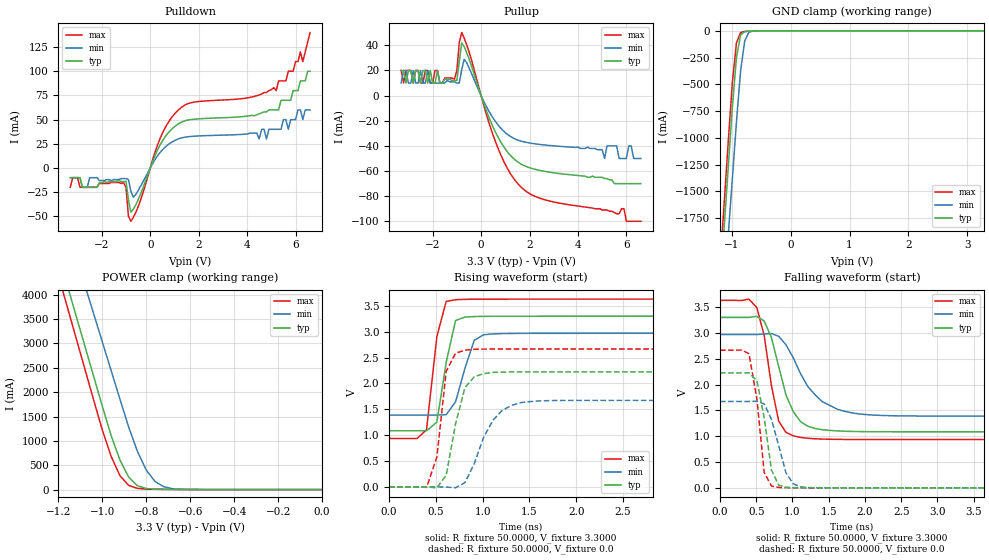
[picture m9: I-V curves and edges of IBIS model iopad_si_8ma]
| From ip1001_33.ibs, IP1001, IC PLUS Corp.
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|   Model iopad_si_8ma
[Model]  iopad_si_8ma
Model_type I/O
Polarity   Non-Inverting
Enable   Active-Low
Vinl =   0.8000V
Vinh =   1.8000V
Vmeas =  1.2500V
C_comp   0.3000pF   0.2400pF   0.3600pF
[Temperature Range]   27.0000   100.0000   0.0
[Voltage Range]   3.3000V   2.9700V   3.6300V
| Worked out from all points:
|   slope of the pulldown table from 0 to 0.495 V, typ, clamps not added: 17.9 ohm
|   slope of the pullup table from 0 to 0.495 V, typ, clamps not added: 19.8 ohm
|   GND clamp passes 1 mA (typ) near -0.63 V on its own axis
|   POWER clamp passes 1 mA (typ) near -0.57 V on its own axis
|   rising waveform, R_fixture 50.0000, V_fixture 3.3000: 20-80 % time 132ps typ, 157ps min, 115ps max; typ from 1.08 V to 3.3 V
|   rising waveform, R_fixture 50.0000, V_fixture 0.0: 20-80 % time 158ps typ, 257ps min, 102ps max; typ from 0 V to 2.22 V
|   falling waveform, R_fixture 50.0000, V_fixture 3.3000: 20-80 % time 275ps typ, 428ps min, 200ps max; typ from 3.3 V to 1.08 V
|   falling waveform, R_fixture 50.0000, V_fixture 0.0: 20-80 % time 149ps typ, 195ps min, 135ps max; typ from 2.22 V to 0 V
[Pulldown]
|Voltage   I(typ)   I(min)   I(max)
-3.3V     -10mA      -10mA      -20mA
-1.1V     -14mA      -11mA      -15mA
-1V       -13.8mA    -11mA      -20.3mA
-900mV    -32.9mA    -12mA      -49.86mA
-800mV    -45.69mA   -24.1mA    -55.12mA
400mV     23.52mA    15.83mA    30.06mA
1.1V      44.55mA    29.42mA    58.46mA
5.2V      60mA       40mA       80mA
5.7V      70mA       40mA       100mA
6.2V      90mA       60mA       120mA
6.3V      90mA       50mA       110mA
6.6V      100mA      60mA       140mA
[Pullup]
|Voltage   I(typ)   I(min)   I(max)
-3.3V     20mA       10mA       20mA
-3.2V     20mA       20mA       10mA
-3.1V     10mA       20mA       20mA
-3V       20mA       10mA       20mA
-2.8V     10mA       20mA       10mA
-1.1V     12mA       11mA       13mA
-1V       12mA       10mA       20mA
-800mV    41.96mA    20.7mA     50.17mA
-600mV    34.6mA     26.41mA    40.77mA
600mV     -29.28mA   -20.76mA   -36.96mA
1.6V      -53.85mA   -35.94mA   -71.78mA
6.6V      -70mA      -50mA      -100mA
[GND_clamp]
|Voltage   I(typ)   I(min)   I(max)
-3.3V     -19.41A    -18.96A    -19.6A
-1.2V     -2.411A    -2.98A     -2.198A
-1.13V    -1.844A    -2.447A    -1.618A
-1.06V    -1.278A    -1.914A    -1.038A
-990mV    -713.1mA   -1.382A    -481.3mA
-920mV    -248.8mA   -849.4mA   -111.1mA
-850mV    -39.02mA   -373.5mA   -15.88mA
-780mV    -6.109mA   -94.67mA   -6.703mA
-710mV    -2.353mA   -14.34mA   -4.375mA
-640mV    -1.103mA   -2.066mA   -2.655mA
3.28V     43.51pA    3.97uA     -63.91pA
[POWER_clamp]
|Voltage   I(typ)   I(min)   I(max)
-3.28V    37.2A      36.47A     37.52A
-1.2V     4.828A     5.969A     4.4A
-1.16V    4.205A     5.382A     3.763A
-1.12V    3.582A     4.796A     3.126A
-1.08V    2.96A      4.209A     2.489A
-1.04V    2.337A     3.622A     1.852A
-960mV    1.113A     2.449A     685.8mA
-920mV    611.4mA    1.862A     288.4mA
-840mV    79.46mA    783.6mA    24.69mA
-760mV    7.994mA    166.4mA    7.074mA
-640mV    2.007mA    6.178mA    3.575mA
0V        106.5pA    303.7pA    167.4pA
[Ramp]
| variable   typ   min   max
dV/dt_r  1.3344/0.1582n   1.0032/0.2571n   1.5996/0.1010n
dV/dt_f  1.3290/0.2750n   0.9492/0.4277n   1.6162/0.1998n
R_load = 50.0000
[Rising Waveform]
R_fixture= 50.0000
V_fixture= 3.3000
V_fixture_min= 2.9700
V_fixture_max= 3.6300
|time   V(typ)   V(min)   V(max)
0s        1.085V     1.388V     936.4mV
300ps     1.085V     1.388V     937.1mV
400ps     1.085V     1.388V     1.107V
510ps     1.252V     1.388V     2.907V
610ps     2.409V     1.396V     3.587V
710ps     3.216V     1.645V     3.619V
810ps     3.283V     2.291V     3.626V
910ps     3.293V     2.835V     3.628V
1.11ns    3.299V     2.958V     3.629V
10ns      3.3V       2.97V      3.63V
[Rising Waveform]
R_fixture= 50.0000
V_fixture= 0.0
V_fixture_min= 0.0
V_fixture_max= 0.0
|time   V(typ)   V(min)   V(max)
0s        0V         0V         0V
400ps     615.3uV    -7.348uV   -10.03mV
510ps     -18.77mV   196uV      575.5mV
610ps     225.7mV    -3.302mV   2.236V
710ps     1.219V     -16.78mV   2.584V
810ps     1.917V     83.28mV    2.644V
910ps     2.13V      450.3mV    2.66V
1.11ns    2.213V     1.288V     2.666V
1.52ns    2.223V     1.651V     2.666V
10ns      2.224V     1.672V     2.666V
[Falling Waveform]
R_fixture= 50.0000
V_fixture= 3.3000
V_fixture_min= 2.9700
V_fixture_max= 3.6300
|time   V(typ)   V(min)   V(max)
0s        3.3V       2.97V      3.63V
510ps     3.322V     2.969V     3.485V
610ps     3.23V      2.979V     2.95V
710ps     2.911V     2.988V     1.98V
810ps     2.352V     2.934V     1.292V
910ps     1.799V     2.771V     1.076V
1.11ns    1.284V     2.216V     976.5mV
1.41ns    1.126V     1.671V     944.6mV
2.02ns    1.088V     1.418V     936.6mV
10ns      1.085V     1.388V     936.4mV
[Falling Waveform]
R_fixture= 50.0000
V_fixture= 0.0
V_fixture_min= 0.0
V_fixture_max= 0.0
|time   V(typ)   V(min)   V(max)
0s        2.224V     1.672V     2.666V
400ps     2.226V     1.672V     2.597V
510ps     2.075V     1.677V     1.717V
610ps     1.358V     1.625V     297.2mV
710ps     345.5mV    1.328V     35.13mV
810ps     51.27mV    816.8mV    7.727mV
910ps     9.832mV    293.1mV    3.645mV
1.01ns    5.072mV    79.88mV    2.167mV
1.21ns    1.76mV     4.925mV    649.3uV
10ns      887nV      0V         -1.835uV
